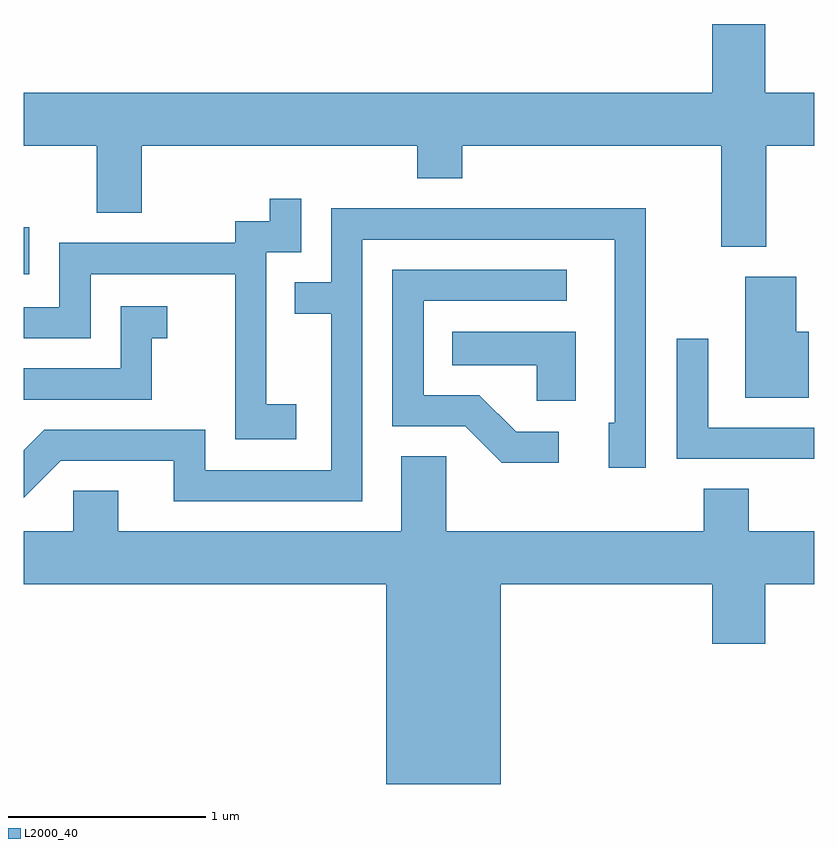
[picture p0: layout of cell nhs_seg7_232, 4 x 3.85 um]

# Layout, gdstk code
import gdstk
lib = gdstk.Library(unit=1e-6, precision=1e-09)
def R(c, l, rs):  # rectangles x0, y0, x1, y1
    for r in rs: c.add(gdstk.rectangle(r[:2], r[2:], *l))
def P(c, l, *ps):  # polygons
    for p in ps: c.add(gdstk.Polygon(p, *l))
L2000_40 = (2000, 40)

nhs_seg7_232 = lib.new_cell('nhs_seg7_232')
R(nhs_seg7_232, L2000_40, [(191.611,1726.986,191.639,1727.223)])
P(nhs_seg7_232, L2000_40, [(195.369,1727.636),(195.611,1727.636),(195.611,1727.904),(195.364,1727.904),(195.364,1728.252),(195.096,1728.252),(195.096,1727.904),(191.611,1727.904),(191.611,1727.636),(191.981,1727.636),(191.981,1727.296),(192.209,1727.296),(192.209,1727.636),(193.601,1727.636),(193.601,1727.471),(193.829,1727.471),(193.829,1727.636),(195.141,1727.636),(195.141,1727.126),(195.369,1727.126)],
  [(192.989,1726.329),(192.839,1726.329),(192.839,1727.096),(193.014,1727.096),(193.014,1727.368),(192.856,1727.368),(192.856,1727.254),(192.681,1727.254),(192.681,1727.144),(191.791,1727.144),(191.791,1726.819),(191.611,1726.819),(191.611,1726.661),(191.949,1726.661),(191.949,1726.986),(192.681,1726.986),(192.681,1726.151),(192.989,1726.151)],
  [(193.324,1727.161),(194.601,1727.161),(194.601,1726.234),(194.571,1726.234),(194.571,1726.006),(194.759,1726.006),(194.759,1727.319),(193.166,1727.319),(193.166,1726.944),(192.983,1726.944),(192.983,1726.786),(193.166,1726.786),(193.166,1725.994),(192.529,1725.994),(192.529,1726.199),(191.714,1726.199),(191.611,1726.096),(191.611,1725.855),(191.797,1726.041),(192.371,1726.041),(192.371,1725.836),(193.324,1725.836)],
  [(194.318,1726.189),(194.102,1726.189),(193.917,1726.374),(193.634,1726.374),(193.634,1726.851),(194.358,1726.851),(194.358,1727.009),(193.476,1727.009),(193.476,1726.216),(193.844,1726.216),(194.029,1726.031),(194.318,1726.031)],
  [(195.584,1726.694),(195.519,1726.694),(195.519,1726.974),(195.261,1726.974),(195.261,1726.361),(195.584,1726.361)],
  [(192.259,1726.661),(192.338,1726.661),(192.338,1726.824),(192.101,1726.824),(192.101,1726.509),(191.611,1726.509),(191.611,1726.351),(192.259,1726.351)],
  [(194.404,1726.694),(193.778,1726.694),(193.778,1726.526),(194.206,1726.526),(194.206,1726.346),(194.404,1726.346)],
  [(195.611,1726.209),(195.074,1726.209),(195.074,1726.658),(194.916,1726.658),(194.916,1726.051),(195.611,1726.051)],
  [(194.024,1725.416),(195.096,1725.416),(195.096,1725.116),(195.364,1725.116),(195.364,1725.416),(195.611,1725.416),(195.611,1725.684),(195.279,1725.684),(195.279,1725.899),(195.051,1725.899),(195.051,1725.684),(193.749,1725.684),(193.749,1726.064),(193.521,1726.064),(193.521,1725.684),(192.089,1725.684),(192.089,1725.889),(191.861,1725.889),(191.861,1725.684),(191.611,1725.684),(191.611,1725.416),(193.446,1725.416),(193.446,1724.406),(194.024,1724.406)])

lib.write_gds('nhs_seg7_232.gds')
